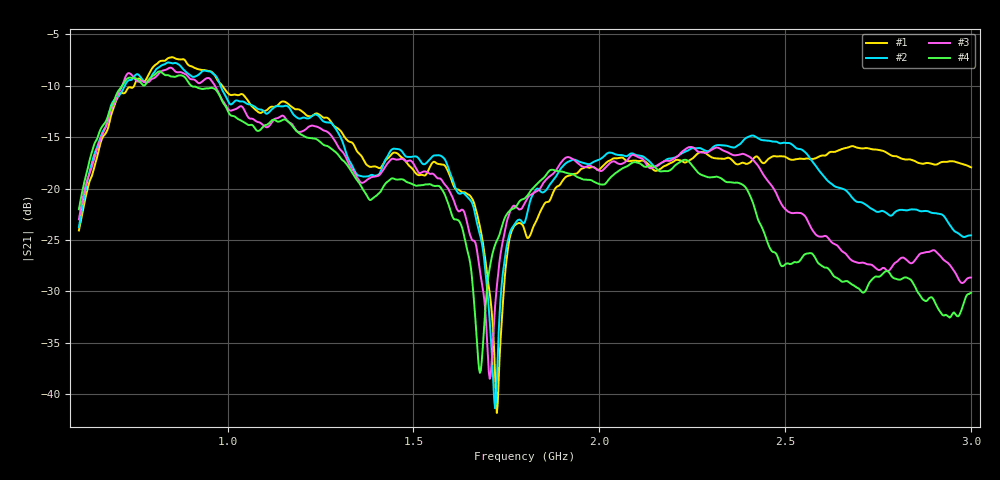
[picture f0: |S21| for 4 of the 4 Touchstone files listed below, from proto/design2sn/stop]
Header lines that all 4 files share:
#  HZ  S  RI  R  50.00
! Rohde & Schwarz ZVB8 2Ports - Version 2.81 - 1145.1010k08 SN: 100113
! Measurements: S11 S21 S12 S22
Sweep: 600 MHz to 3 GHz
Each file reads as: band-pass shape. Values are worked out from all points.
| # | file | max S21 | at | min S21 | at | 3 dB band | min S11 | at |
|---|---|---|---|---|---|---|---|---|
| 1 | triag-0.7-pF.s2p | -7.23 dB | 852.3 MHz | -41.8 dB | 1.724 GHz | 732.1 MHz-989.2 MHz | -19.3 dB | 2.64 GHz |
| 2 | triag-1.1-pF.s2p | -7.73 dB | 840.2 MHz | -41.3 dB | 1.72 GHz | 712.9 MHz-989.2 MHz | -18.4 dB | 2.438 GHz |
| 3 | triag-1.5-pF.s2p | -8.24 dB | 847.4 MHz | -38.5 dB | 1.705 GHz | 703.3 MHz-982 MHz | -14.9 dB | 739.3 MHz |
| 4 | triag-2.0-pF.s2p | -8.60 dB | 816.2 MHz | -37.9 dB | 1.679 GHz | 693.7 MHz-986.8 MHz | -14.1 dB | 705.7 MHz |
